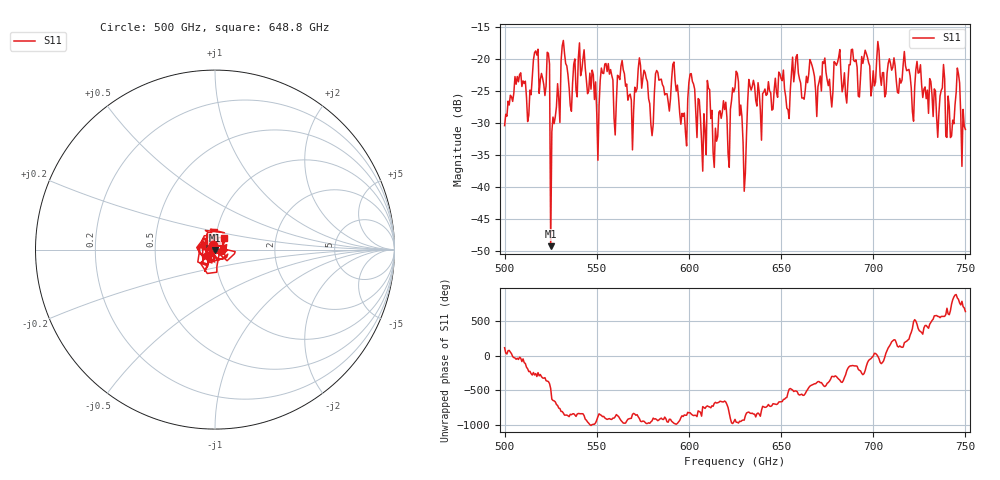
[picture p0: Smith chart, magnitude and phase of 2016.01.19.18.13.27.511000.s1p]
!Created with skrf (http://scikit-rf.org).
# GHz S RI R 50.0
!freq ReS11 ImS11
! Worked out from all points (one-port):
!   401 points, 500 GHz to 750 GHz, reference 50 ohm
!   lowest |S11| = -49.3 dB at 525 GHz (marker M1), VSWR 1.01, Z = 49.9 - j0.316 ohm
!   |S11| at or under -10 dB: start of sweep to end of sweep
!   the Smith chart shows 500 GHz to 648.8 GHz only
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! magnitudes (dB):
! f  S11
! 500 GHz  -30.4
! 506.9 GHz  -22.7
! 513.1 GHz  -28.8
! 516.9 GHz  -18.7
! 523.1 GHz  -18.9
! 525 GHz  -49.3
! 526.2 GHz  -29.1
! 531.2 GHz  -18.0
! 550 GHz  -28.5
! 562.5 GHz  -23.2
! 568.8 GHz  -26.4
! 573.8 GHz  -21.0
! 579.4 GHz  -30.3
! 583.1 GHz  -22.1
! 593.8 GHz  -24.1
! 597.5 GHz  -28.4
! 601.9 GHz  -23.5
! 608.1 GHz  -28.6
! 611.2 GHz  -24.8
! 614.4 GHz  -30.8
! 625 GHz  -24.5
! 630 GHz  -40.7
! 633.8 GHz  -24.9
! 656.2 GHz  -19.7
! 687.5 GHz  -20.9
! 718.8 GHz  -21.7
! 745.6 GHz  -21.4
! 750 GHz  -31.0
